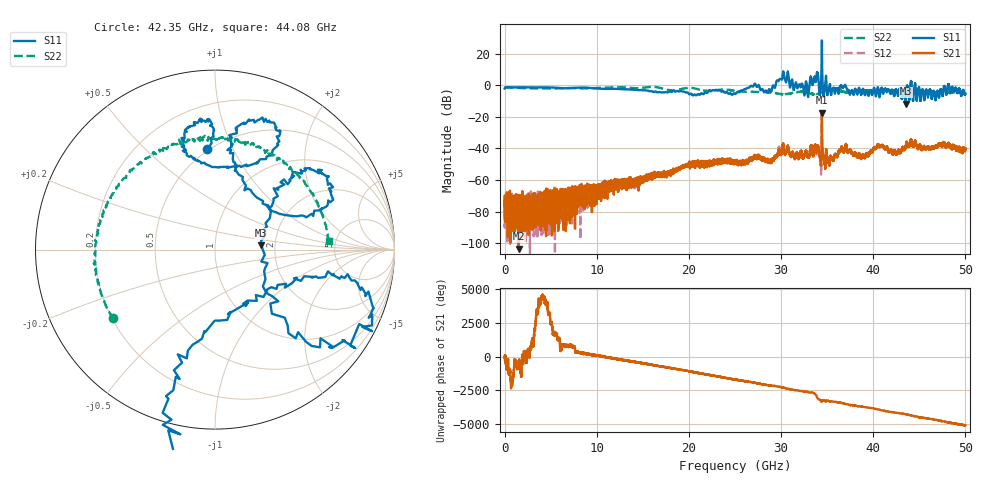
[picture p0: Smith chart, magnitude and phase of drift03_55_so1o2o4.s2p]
!Created with skrf (http://scikit-rf.org).
# Hz S RI R 50.0
!freq ReS11 ImS11 ReS21 ImS21 ReS12 ImS12 ReS22 ImS22
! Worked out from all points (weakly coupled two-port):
!   10000 points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, 5.3 MHz to 50 GHz, reference 50 ohm
!   highest |S21| = -17.39 dB at 34.43 GHz (marker M1); lowest = -103.4 dB at 1.52 GHz (marker M2)
!   lowest |S11| = -11.7 dB at 43.52 GHz (marker M3), VSWR 1.70, Z = 84.5 + j4.46 ohm
!   |S11| at or under -10 dB: 43.48943 GHz to 43.54825 GHz (58.83 MHz wide, 0.135 % of centre)
!   |S22| runs from -5.8 to -1.1 dB; largest |S21 - S12| = 0.028
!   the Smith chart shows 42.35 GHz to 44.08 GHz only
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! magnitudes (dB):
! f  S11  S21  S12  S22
! 5.3 MHz  -2.1  -76.2  -78.3  -1.3
! 1.52 GHz  -1.4  -103.4  -78.1  -1.8
! 4.175 GHz  -1.4  -77.4  -79.0  -2.0
! 8.34 GHz  -1.5  -70.0  -69.7  -2.1
! 16.67 GHz  -4.4  -56.8  -56.3  -1.5
! 20.24 GHz  -5.4  -50.3  -49.6  -1.7
! 25.01 GHz  -5.5  -48.9  -49.1  -3.5
! 27.02 GHz  -0.3  -45.0  -45.7  -4.2
! 28.72 GHz  -2.5  -48.5  -48.0  -4.5
! 30.14 GHz  4.4  -40.5  -40.3  -5.7
! 32.74 GHz  2.0  -42.0  -42.3  -4.6
! 33.34 GHz  2.6  -40.0  -40.6  -5.6
! 33.82 GHz  4.0  -42.2  -42.2  -5.7
! 34.43 GHz  28.3  -17.4  -19.1  -4.6
! 35.35 GHz  -1.2  -44.5  -45.3  -3.4
! 36.84 GHz  -0.7  -42.4  -41.4  -4.1
! 38.88 GHz  -2.3  -44.2  -43.6  -3.2
! 40.58 GHz  -3.3  -38.0  -38.1  -4.0
! 41.67 GHz  -2.9  -41.8  -42.0  -3.3
! 43.52 GHz  -11.7  -39.5  -38.8  -4.1
! 48.32 GHz  -4.4  -38.6  -37.8  -4.6
! 50 GHz  -5.2  -39.9  -40.8  -4.5
